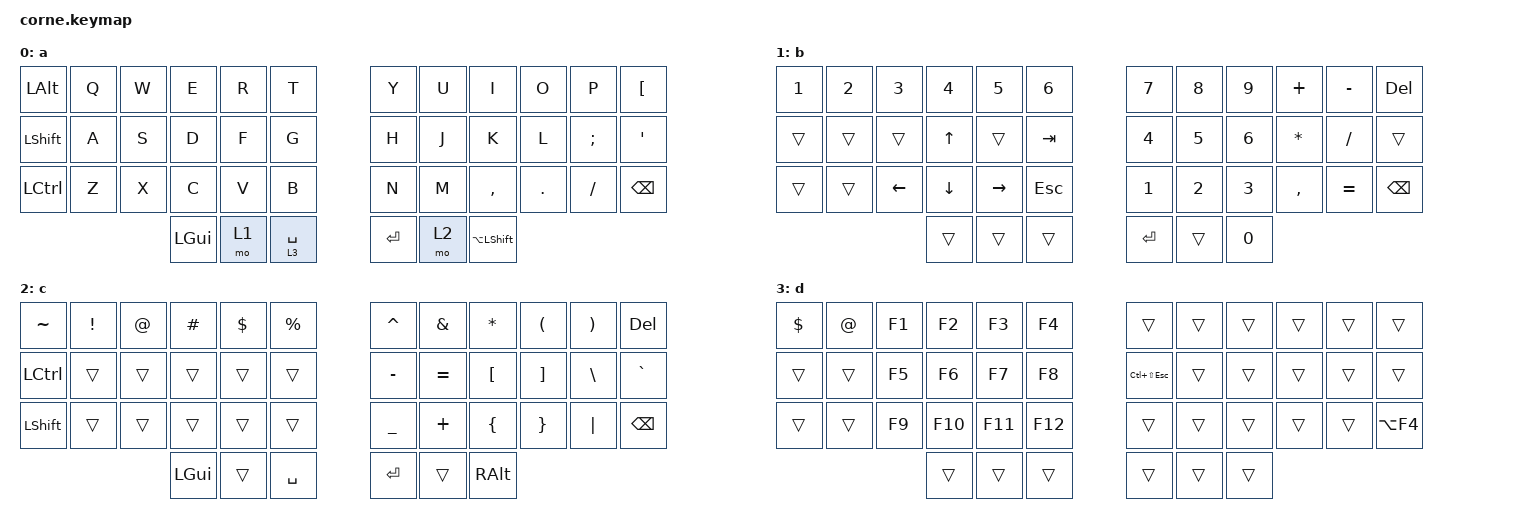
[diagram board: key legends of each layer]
/*
 * Copyright (c) 2020 The ZMK Contributors
 *
 * SPDX-License-Identifier: MIT
 */

#include <behaviors.dtsi>
#include <dt-bindings/zmk/keys.h>

/ {
    keymap {
        compatible = "zmk,keymap";

        a {
            bindings = <
&kp LALT   &kp Q  &kp W  &kp E     &kp R  &kp T          &kp Y      &kp U  &kp I          &kp O    &kp P     &kp LBKT
&kp LSHFT  &kp A  &kp S  &kp D     &kp F  &kp G          &kp H      &kp J  &kp K          &kp L    &kp SEMI  &kp SQT
&kp LCTRL  &kp Z  &kp X  &kp C     &kp V  &kp B          &kp N      &kp M  &kp COMMA      &kp DOT  &kp FSLH  &kp BACKSPACE
                         &kp LGUI  &mo 1  &lt 3 SPACE    &kp ENTER  &mo 2  &kp LA(LSHFT)
            >;
        };

        b {
            bindings = <
&kp N1  &kp N2  &kp N3          &kp N4          &kp N5           &kp N6     &kp N7     &kp N8  &kp N9  &kp PLUS   &kp MINUS  &kp DEL
&trans  &trans  &trans          &kp UP          &trans           &kp TAB    &kp N4     &kp N5  &kp N6  &kp STAR   &kp SLASH  &trans
&trans  &trans  &kp LEFT_ARROW  &kp DOWN_ARROW  &kp RIGHT_ARROW  &kp ESC    &kp N1     &kp N2  &kp N3  &kp COMMA  &kp EQUAL  &kp BACKSPACE
                                &trans          &trans           &trans     &kp ENTER  &trans  &kp N0
            >;
        };

        c {
            // -----------------------------------------------------------------------------------------
            // |  TAB |  !  |  @  |  #  |  $  |  %  |   |  ^  |  &  |  *  |  (  |  )  | BKSP |
            // | CTRL |     |     |     |     |     |   |  -  |  =  |  [  |  ]  |  \  |  `   |
            // | SHFT |     |     |     |     |     |   |  _  |  +  |  {  |  }  | "|" |  ~   |
            //                    | GUI |     | SPC |   | ENT |     | ALT |

            bindings = <
&kp TILDE  &kp EXCL  &kp AT  &kp HASH  &kp DLLR  &kp PRCNT    &kp CARET  &kp AMPS   &kp ASTRK  &kp LPAR  &kp RPAR  &kp DEL
&kp LCTRL  &trans    &trans  &trans    &trans    &trans       &kp MINUS  &kp EQUAL  &kp LBKT   &kp RBKT  &kp BSLH  &kp GRAVE
&kp LSHFT  &trans    &trans  &trans    &trans    &trans       &kp UNDER  &kp PLUS   &kp LBRC   &kp RBRC  &kp PIPE  &kp BACKSPACE
                             &kp LGUI  &trans    &kp SPACE    &kp RET    &trans     &kp RALT
            >;
        };

        d {
            bindings = <
&kp DOLLAR  &kp AT  &kp F1  &kp F2   &kp F3   &kp F4     &trans              &trans  &trans  &trans  &trans  &trans
&trans      &trans  &kp F5  &kp F6   &kp F7   &kp F8     &kp LC(LS(ESCAPE))  &trans  &trans  &trans  &trans  &trans
&trans      &trans  &kp F9  &kp F10  &kp F11  &kp F12    &trans              &trans  &trans  &trans  &trans  &kp LA(F4)
                            &trans   &trans   &trans     &trans              &trans  &trans
            >;
        };
    };
};
